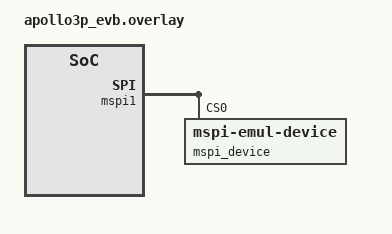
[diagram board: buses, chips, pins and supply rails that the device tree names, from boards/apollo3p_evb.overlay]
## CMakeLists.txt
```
# Copyright (c) 2024 Ambiq Micro Inc. <www.ambiq.com>
# SPDX-License-Identifier: Apache-2.0

cmake_minimum_required(VERSION 3.20.0)

find_package(Zephyr REQUIRED HINTS $ENV{ZEPHYR_BASE})
project(mspi_api)

if(CONFIG_DT_HAS_AMBIQ_MSPI_CONTROLLER_ENABLED)
  target_include_directories(app PRIVATE ${ZEPHYR_BASE}/drivers/mspi)
endif()

FILE(GLOB app_sources src/*.c)
target_sources(app PRIVATE ${app_sources})
```

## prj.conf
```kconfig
# Copyright (c) 2024 Ambiq Micro Inc. <www.ambiq.com>
# SPDX-License-Identifier: Apache-2.0

CONFIG_ZTEST=y
CONFIG_MSPI=y
```

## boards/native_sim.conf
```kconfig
# Copyright (c) 2024 Ambiq Micro Inc. <www.ambiq.com>
# SPDX-License-Identifier: Apache-2.0

CONFIG_EMUL=y
```

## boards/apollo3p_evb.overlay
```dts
/*
 * Copyright (c) 2024 Ambiq Micro Inc. <www.ambiq.com>
 * SPDX-License-Identifier: Apache-2.0
 */

/ {
	aliases {
		mspi0 = &mspi1;
	};
};

&gpio32_63 {
	status = "okay";
};

&mspi1 {

	compatible = "ambiq,mspi-controller";
	pinctrl-0 = <&mspi1_default>;
	pinctrl-1 = <&mspi1_sleep>;
	pinctrl-2 = <&mspi1_emul>;
	status = "okay";

	ce-gpios = <&gpio32_63 18 GPIO_ACTIVE_LOW>;

	mspi_device: mspi_device@0 {
		status = "okay";
		compatible = "zephyr,mspi-emul-device";
		reg = <0x0>;
		mspi-max-frequency = <48000000>;
	};

};

&pinctrl {

	mspi1_sleep: mspi1_sleep{
		group1 {
			pinmux = <GPIO_P51>,
				 <GPIO_P52>,
				 <GPIO_P53>,
				 <GPIO_P54>,
				 <GPIO_P55>,
				 <GPIO_P56>,
				 <GPIO_P57>,
				 <GPIO_P58>,
				 <GPIO_P59>,
				 <GPIO_P69>,
				 <GPIO_P50>;
		};
	};

	mspi1_emul: mspi1_emul{

		group1 {
			pinmux = <MSPI1_0_P51>,
				 <MSPI1_1_P52>,
				 <MSPI1_2_P53>,
				 <MSPI1_3_P54>,
				 <MSPI1_4_P55>,
				 <MSPI1_5_P56>,
				 <MSPI1_6_P57>,
				 <MSPI1_7_P58>;
			drive-strength = "0.75";
			ambiq,iom-mspi = <0>;
			ambiq,iom-num = <1>;
		};

		group2 {
			pinmux = <MSPI1_8_P59>;
			drive-strength = "0.75";
			ambiq,iom-mspi = <0>;
			ambiq,iom-num = <2>;
		};

		group3 {
			pinmux = <NCE50_P50>;
			drive-strength = "1.0";
			ambiq,iom-mspi = <0>;
			ambiq,iom-num = <1>;
		};

		group4 {
			pinmux = <GPIO_P69>;
		};

	};

};
```

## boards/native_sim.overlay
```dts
/*
 * Copyright (c) 2024 Ambiq Micro Inc. <www.ambiq.com>
 *
 * SPDX-License-Identifier: Apache-2.0
 */
/ {
	aliases {
		mspi0 = &mspi0;
	};
};

&mspi0 {

	mspi_device: mspi_device@0 {
		status = "okay";
		compatible = "zephyr,mspi-emul-device";
		reg = <0x0>;
		mspi-max-frequency = <48000000>;
	};

};
```

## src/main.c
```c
/*
 * Copyright (c) 2024 Ambiq Micro Inc. <www.ambiq.com>
 * SPDX-License-Identifier: Apache-2.0
 */

#include <zephyr/device.h>
#include <zephyr/drivers/mspi.h>
#include <zephyr/drivers/mspi_emul.h>
#include <zephyr/ztest.h>

#define TEST_MSPI_REINIT    1

/* add else if for other SoC platforms */
#if defined(CONFIG_SOC_POSIX)
typedef struct mspi_timing_cfg mspi_timing_cfg;
typedef enum mspi_timing_param mspi_timing_param;
#elif defined(CONFIG_SOC_FAMILY_AMBIQ)
#include "mspi_ambiq.h"
typedef struct mspi_ambiq_timing_cfg mspi_timing_cfg;
typedef enum mspi_ambiq_timing_param mspi_timing_param;
#endif

#define MSPI_BUS_NODE       DT_ALIAS(mspi0)

static const struct device *mspi_devices[] = {
	DT_FOREACH_CHILD_STATUS_OKAY_SEP(MSPI_BUS_NODE, DEVICE_DT_GET, (,))
};

static struct gpio_dt_spec ce_gpios[] = MSPI_CE_GPIOS_DT_SPEC_GET(MSPI_BUS_NODE);

#if TEST_MSPI_REINIT
struct mspi_cfg hardware_cfg = {
	.channel_num              = 0,
	.op_mode                  = DT_PROP_OR(MSPI_BUS_NODE, op_mode, MSPI_OP_MODE_CONTROLLER),
	.duplex                   = DT_PROP_OR(MSPI_BUS_NODE, duplex, MSPI_HALF_DUPLEX),
	.dqs_support              = DT_PROP_OR(MSPI_BUS_NODE, dqs_support, false),
	.ce_group                 = ce_gpios,
	.num_ce_gpios             = ARRAY_SIZE(ce_gpios),
	.num_periph               = DT_CHILD_NUM(MSPI_BUS_NODE),
	.max_freq                 = DT_PROP(MSPI_BUS_NODE, clock_frequency),
	.re_init                  = true,
};
#endif


static struct mspi_dev_id dev_id[] = {
	DT_FOREACH_CHILD_STATUS_OKAY_SEP(MSPI_BUS_NODE, MSPI_DEVICE_ID_DT, (,))
};

static struct mspi_dev_cfg device_cfg[] = {
	DT_FOREACH_CHILD_STATUS_OKAY_SEP(MSPI_BUS_NODE, MSPI_DEVICE_CONFIG_DT, (,))
};

static struct mspi_xip_cfg xip_cfg[] = {
	DT_FOREACH_CHILD_STATUS_OKAY_SEP(MSPI_BUS_NODE, MSPI_XIP_CONFIG_DT, (,))
};

static struct mspi_scramble_cfg scramble_cfg[] = {
	DT_FOREACH_CHILD_STATUS_OKAY_SEP(MSPI_BUS_NODE, MSPI_SCRAMBLE_CONFIG_DT, (,))
};

ZTEST(mspi_api, test_mspi_api)
{
	int ret = 0;
	const struct device *mspi_bus = DEVICE_DT_GET(MSPI_BUS_NODE);

	zassert_true(device_is_ready(mspi_bus), "mspi_bus is not ready");

#if TEST_MSPI_REINIT
	const struct mspi_dt_spec spec = {
		.bus    = mspi_bus,
		.config = hardware_cfg,
	};

	ret = mspi_config(&spec);
	zassert_equal(ret, 0, "mspi_config failed.");
#endif

	for (int dev_idx = 0; dev_idx < ARRAY_SIZE(mspi_devices); ++dev_idx) {

		zassert_true(device_is_ready(mspi_devices[dev_idx]), "mspi_device is not ready");

		ret = mspi_dev_config(mspi_bus, &dev_id[dev_idx],
				      MSPI_DEVICE_CONFIG_ALL, &device_cfg[dev_idx]);
		zassert_equal(ret, 0, "mspi_dev_config failed.");

#if CONFIG_MSPI_XIP
		ret = mspi_xip_config(mspi_bus, &dev_id[dev_idx], &xip_cfg[dev_idx]);
		zassert_equal(ret, 0, "mspi_xip_config failed.");
#endif

#if CONFIG_MSPI_SCRAMBLE
		ret = mspi_scramble_config(mspi_bus, &dev_id[dev_idx], &scramble_cfg[dev_idx]);
		zassert_equal(ret, 0, "mspi_scramble_config failed.");
#endif

#if CONFIG_MSPI_TIMING
		mspi_timing_cfg timing_cfg;
		mspi_timing_param timing_cfg_mask = 0;

		ret = mspi_timing_config(mspi_bus, &dev_id[dev_idx], timing_cfg_mask, &timing_cfg);
		zassert_equal(ret, 0, "mspi_timing_config failed.");
#endif

		ret = mspi_register_callback(mspi_bus, &dev_id[dev_idx],
					     MSPI_BUS_XFER_COMPLETE, NULL, NULL);
		zassert_equal(ret, 0, "mspi_register_callback failed.");

		ret = mspi_get_channel_status(mspi_bus, 0);
		zassert_equal(ret, 0, "mspi_get_channel_status failed.");

	}
}

ZTEST_SUITE(mspi_api, NULL, NULL, NULL, NULL, NULL);
```

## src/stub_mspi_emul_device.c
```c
/*
 * Copyright (c) 2024 Ambiq Micro Inc. <www.ambiq.com>
 * SPDX-License-Identifier: Apache-2.0
 */

#include <zephyr/device.h>
#include <zephyr/devicetree.h>
#include <zephyr/drivers/emul.h>
#include <zephyr/drivers/mspi.h>
#include <zephyr/drivers/mspi_emul.h>
#define DT_DRV_COMPAT zephyr_mspi_emul_device

/* Stub out a mspi device struct to use mspi_device emulator. */
static int emul_mspi_device_init_stub(const struct device *dev)
{
	ARG_UNUSED(dev);

	return 0;
}

static int emul_mspi_init_stub(const struct emul *stub_emul, const struct device *bus)
{
	ARG_UNUSED(stub_emul);
	ARG_UNUSED(bus);

	return 0;
}

struct emul_mspi_device_stub_dev_data {
	/* Stub */
};
struct emul_mspi_device_stub_dev_config {
	/* Stub */
};
struct emul_mspi_device_stub_dev_api {
	/* Stub */
};

#define EMUL_MSPI_DEVICE_DEVICE_STUB(n)                                                           \
	static struct emul_mspi_device_stub_dev_data stub_device_data_##n;                        \
	static struct emul_mspi_device_stub_dev_config stub_device_config_##n;                    \
	static struct emul_mspi_device_stub_dev_api stub_device_api_##n;                          \
	DEVICE_DT_INST_DEFINE(n,                                                                  \
			      emul_mspi_device_init_stub,                                         \
			      NULL,                                                               \
			      &stub_device_data_##n,                                              \
			      &stub_device_config_##n,                                            \
			      POST_KERNEL,                                                        \
			      CONFIG_MSPI_INIT_PRIORITY,                                          \
			      &stub_device_api_##n);

#define EMUL_TEST(n)                                                                              \
	EMUL_DT_INST_DEFINE(n,                                                                    \
			    emul_mspi_init_stub,                                                  \
			    NULL,                                                                 \
			    NULL,                                                                 \
			    NULL,                                                                 \
			    NULL);

DT_INST_FOREACH_STATUS_OKAY(EMUL_TEST)

DT_INST_FOREACH_STATUS_OKAY(EMUL_MSPI_DEVICE_DEVICE_STUB)
```
